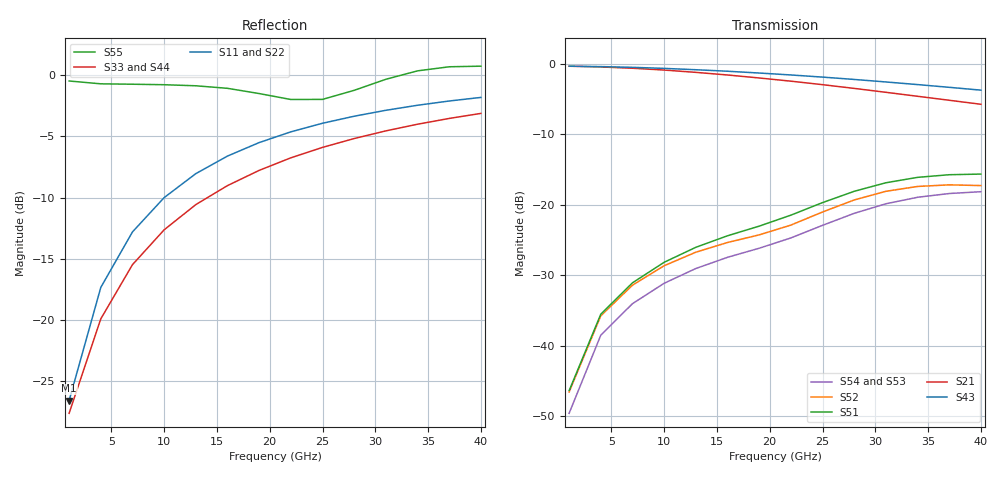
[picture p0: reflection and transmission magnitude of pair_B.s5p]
! Generated by circuitRF - EM: Full-wave planar
! circuitRF-EM setup: pair_B
! circuitRF-EM layout: PAIR/layout/PAIR.clay
! circuitRF-EM written: 2026-11-14 20:13:26Z
! circuitRF-EM stamp: 20261114T201326Z-37821687
! circuitRF-EM geometry: ce1d54d37dd59b68
! circuitRF-EM mesh: 099879cdb6ab51d1
! circuitRF-EM ports: d2fe3ed872dcc107
! circuitRF-EM model: grounded-edge-port-2026-10-14
! Port[1] = 1
! Port[2] = 2
! Port[3] = 3
! Port[4] = 4
! Port[5] = 5
! circuitRF-EM port 1: '1' on 'TopMetal1' at (-4.75, -31 um), edge, uncalibrated (not de-embedded), 50 Ohm
! circuitRF-EM port 2: '2' on 'TopMetal1' at (4.75, -31 um), edge, uncalibrated (not de-embedded), 50 Ohm
! circuitRF-EM port 3: '3' on 'TopMetal1' at (149.45, -31 um), edge, uncalibrated (not de-embedded), 50 Ohm
! circuitRF-EM port 4: '4' on 'TopMetal1' at (155.55, -31 um), edge, uncalibrated (not de-embedded), 50 Ohm
! circuitRF-EM port 5: '5' on 'TopMetal1' at (-100, 37.5 um), edge, uncalibrated (not de-embedded), 50 Ohm
! circuitRF-EM: port N of this file is the label named on the 'port N' line above. A circuit that composes this result binds its nets in that order; two ports of a reciprocal part swapped gives a plausible curve of a different structure.
! circuitRF-EM caveat: 4 of these rows are NOT A PASSIVE NETWORK and should not be used: 31 GHz to 40 GHz, worst sigma_max(S) = 1.1496. A passive structure cannot exceed 1, so the excess is this analysis rather than the design. The de-embedding reports no error floor on this sweep, so it is not the 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
! circuitRF-EM: re-running the EM setup rewrites this file. If circuitRF reports it as stale, the layout's cross-section changed after this file was written.
# GHz S RI R 50
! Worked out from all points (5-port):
!   14 points, 1 GHz to 40 GHz, reference 50 ohm
!   strongest paths, dB at 1 GHz, 10 GHz, 22 GHz, 31 GHz, 40 GHz:
!     S43: -0.3, -0.6, -1.6, -2.6, -3.7
!     S21: -0.3, -0.9, -2.4, -4.0, -5.7
!     S51: -46.3, -28.1, -21.5, -16.9, -15.6
!     S52: -46.5, -28.6, -22.9, -18.1, -17.3
!     S54: -49.6, -31.1, -24.7, -19.8, -18.1
!     S53: -49.5, -31.1, -24.7, -20.0, -18.4
!   lowest |S11| = -26.6 dB at 1 GHz (marker M1), VSWR 1.10, Z = 53.6 + j3.31 ohm
!   |S11| at or under -10 dB: start of sweep to 10.01 GHz
